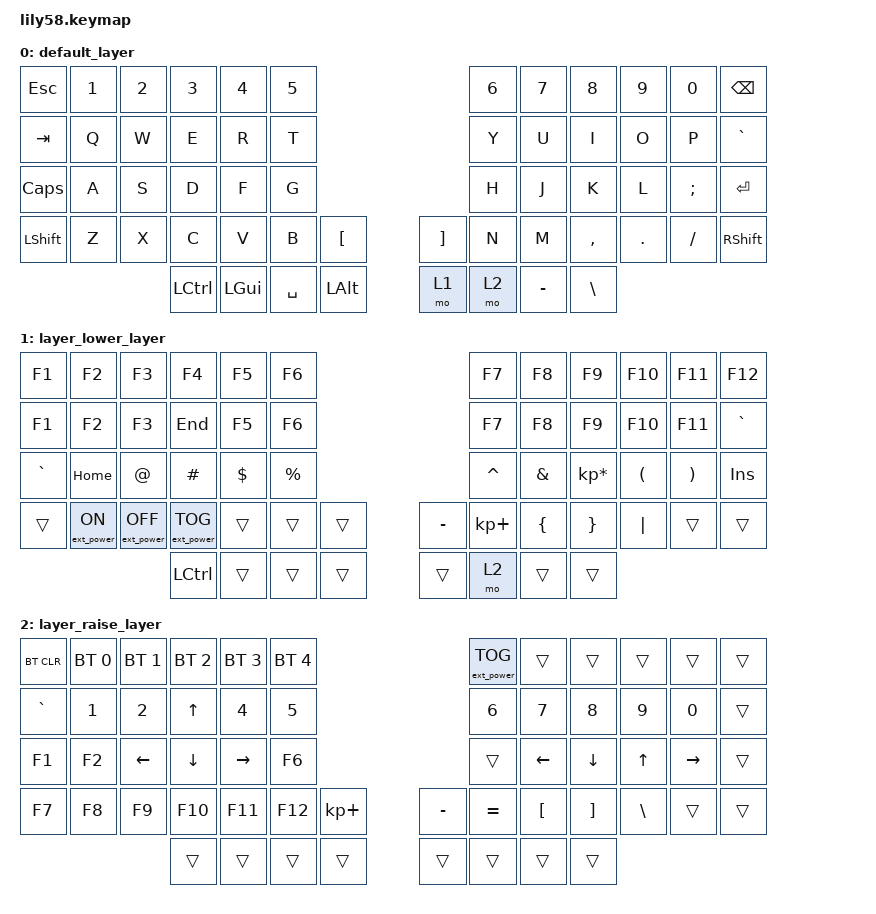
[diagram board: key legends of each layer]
/*
 * Copyright (c) 2020 The ZMK Contributors
 *
 * SPDX-License-Identifier: MIT
 */
/* THIS FILE WAS GENERATED!
 *
 * This file was generated automatically. You may or may not want to
 * edit it directly.
 */

#include <behaviors.dtsi>
#include <dt-bindings/zmk/keys.h>
#include <dt-bindings/zmk/ext_power.h>
#include <dt-bindings/zmk/bt.h>

/ {
    keymap {
        compatible = "zmk,keymap";

        default_layer {
            bindings = <
  &kp ESC  &kp N1  &kp N2     &kp N3        &kp N4     &kp N5                      &kp N6     &kp N7         &kp N8   &kp N9    &kp N0  &kp BACKSPACE
  &kp TAB   &kp Q   &kp W      &kp E         &kp R      &kp T                       &kp Y      &kp U          &kp I    &kp O     &kp P      &kp GRAVE
 &kp CAPS   &kp A   &kp S      &kp D         &kp F      &kp G                       &kp H      &kp J          &kp K    &kp L  &kp SEMI      &kp ENTER
&kp LSHFT   &kp Z   &kp X      &kp C         &kp V      &kp B  &kp LBKT  &kp RBKT   &kp N      &kp M      &kp COMMA  &kp DOT  &kp FSLH      &kp RSHFT
                           &kp LCTRL  &kp LEFT_GUI  &kp SPACE  &kp LALT     &mo 1   &mo 2  &kp MINUS  &kp BACKSLASH
            >;
        };

        layer_lower_layer {
            bindings = <
   &kp F1            &kp F2             &kp F3             &kp F4      &kp F5     &kp F6                          &kp F7    &kp F8           &kp F9   &kp F10   &kp F11    &kp F12
   &kp F1            &kp F2             &kp F3            &kp END      &kp F5     &kp F6                          &kp F7    &kp F8           &kp F9   &kp F10   &kp F11  &kp GRAVE
&kp GRAVE          &kp HOME             &kp AT           &kp HASH  &kp DOLLAR  &kp PRCNT                       &kp CARET  &kp AMPS  &kp KP_MULTIPLY  &kp LPAR  &kp RPAR    &kp INS
   &trans  &ext_power EP_ON  &ext_power EP_OFF  &ext_power EP_TOG      &trans     &trans  &trans  &kp MINUS  &kp KP_PLUS  &kp LBRC         &kp RBRC  &kp PIPE    &trans     &trans
                                                        &kp LCTRL      &trans     &trans  &trans     &trans        &mo 2    &trans           &trans
            >;
        };

        layer_raise_layer {
            bindings = <
&bt BT_CLR  &bt BT_SEL 0  &bt BT_SEL 1  &bt BT_SEL 2  &bt BT_SEL 3  &bt BT_SEL 4                          &ext_power EP_TOG    &trans    &trans    &trans     &trans  &trans
 &kp GRAVE        &kp N1        &kp N2        &kp UP        &kp N4        &kp N5                                     &kp N6    &kp N7    &kp N8    &kp N9     &kp N0  &trans
    &kp F1        &kp F2      &kp LEFT      &kp DOWN     &kp RIGHT        &kp F6                                     &trans  &kp LEFT  &kp DOWN    &kp UP  &kp RIGHT  &trans
    &kp F7        &kp F8        &kp F9       &kp F10       &kp F11       &kp F12  &kp KP_PLUS  &kp MINUS          &kp EQUAL  &kp LBKT  &kp RBKT  &kp BSLH     &trans  &trans
                                              &trans        &trans        &trans       &trans     &trans             &trans    &trans    &trans
            >;
        };
    };
};
